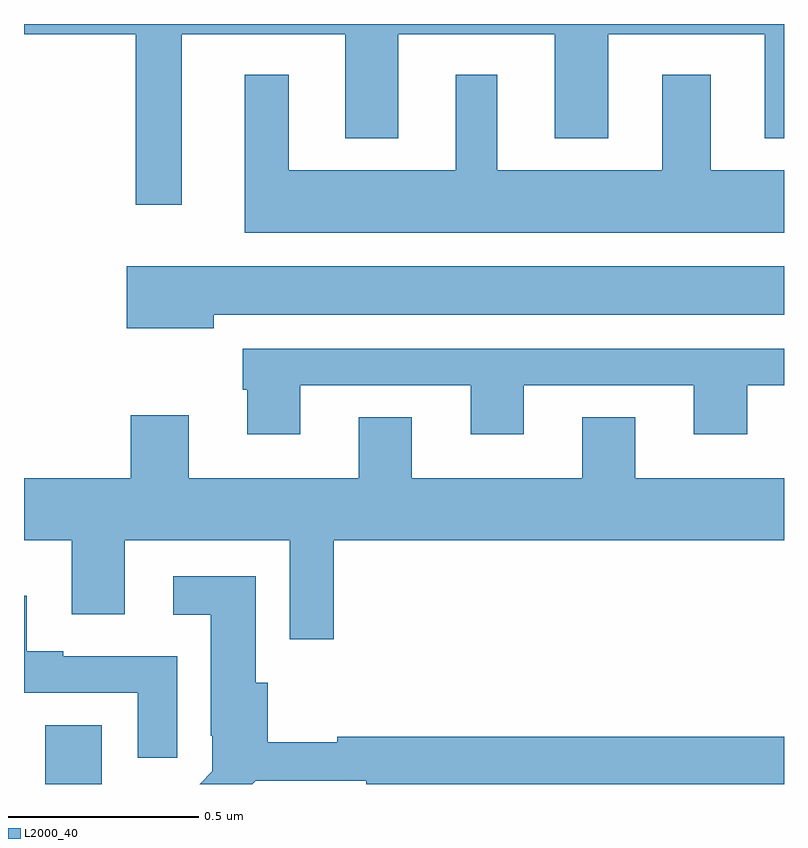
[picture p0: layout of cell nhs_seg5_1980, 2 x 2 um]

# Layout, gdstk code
import gdstk
lib = gdstk.Library(unit=1e-6, precision=1e-09)
def R(c, l, rs):  # rectangles x0, y0, x1, y1
    for r in rs: c.add(gdstk.rectangle(r[:2], r[2:], *l))
def P(c, l, *ps):  # polygons
    for p in ps: c.add(gdstk.Polygon(p, *l))
L2000_40 = (2000, 40)

nhs_seg5_1980 = lib.new_cell('nhs_seg5_1980')
R(nhs_seg5_1980, L2000_40, [(138.056,842.799,138.205,842.954)])
P(nhs_seg5_1980, L2000_40, [(138,844.772),(138.294,844.772),(138.294,844.323),(138.415,844.323),(138.415,844.772),(138.845,844.772),(138.845,844.499),(138.985,844.499),(138.985,844.772),(139.397,844.772),(139.397,844.499),(139.537,844.499),(139.537,844.772),(139.949,844.772),(139.949,844.499),(140,844.499),(140,844.799),(138,844.799)],
  [(140,844.414),(139.807,844.414),(139.807,844.666),(139.679,844.666),(139.679,844.414),(139.246,844.414),(139.246,844.666),(139.136,844.666),(139.136,844.414),(138.697,844.414),(138.697,844.666),(138.581,844.666),(138.581,844.25),(140,844.25)],
  [(138.499,844.034),(140,844.034),(140,844.162),(138.27,844.162),(138.27,843.998),(138.499,843.998)],
  [(138.727,843.849),(139.175,843.849),(139.175,843.72),(139.315,843.72),(139.315,843.849),(139.763,843.849),(139.763,843.72),(139.903,843.72),(139.903,843.849),(140,843.849),(140,843.945),(138.575,843.945),(138.575,843.837),(138.587,843.837),(138.587,843.72),(138.727,843.72)],
  [(138.815,843.44),(140,843.44),(140,843.604),(139.609,843.604),(139.609,843.764),(139.469,843.764),(139.469,843.604),(139.021,843.604),(139.021,843.764),(138.881,843.764),(138.881,843.604),(138.433,843.604),(138.433,843.769),(138.281,843.769),(138.281,843.604),(138,843.604),(138,843.44),(138.125,843.44),(138.125,843.246),(138.265,843.246),(138.265,843.44),(138.699,843.44),(138.699,843.18),(138.815,843.18)],
  [(138.61,842.808),(138.901,842.808),(138.901,842.799),(140,842.799),(140,842.924),(138.824,842.924),(138.824,842.909),(138.641,842.909),(138.641,843.066),(138.61,843.066),(138.61,843.346),(138.393,843.346),(138.393,843.245),(138.491,843.245),(138.491,842.926),(138.495,842.926),(138.495,842.832),(138.462,842.799),(138.601,842.799)],
  [(138.403,843.135),(138.103,843.135),(138.103,843.148),(138.007,843.148),(138.007,843.295),(138,843.295),(138,843.039),(138.299,843.039),(138.299,842.868),(138.403,842.868)])

lib.write_gds('nhs_seg5_1980.gds')
